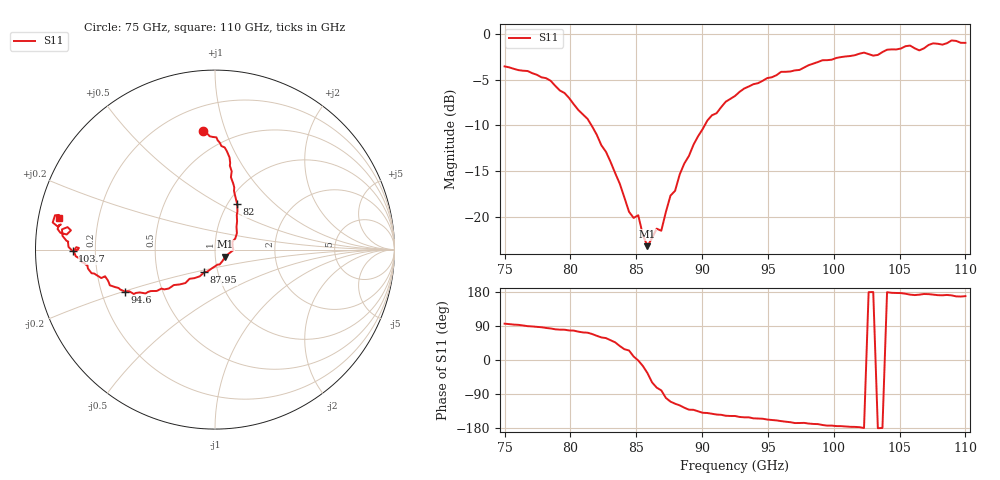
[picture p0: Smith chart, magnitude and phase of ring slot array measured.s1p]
!Created with mwavepy.
# GHz S RI R 50.0
!freq	ReS11	ImS11
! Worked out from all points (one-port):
!   101 points, 75 GHz to 110 GHz, reference 50 ohm
!   lowest |S11| = -23.1 dB at 85.85 GHz (marker M1), VSWR 1.15, Z = 55.9 - j4.45 ohm
!   |S11| at or under -10 dB: 81.61 GHz to 90.19 GHz (8.587 GHz wide, 10 % of centre)
!   S11 on the Smith chart (normalised r, x): 75 GHz: 0.36, +0.84; 82 GHz: 1.11, +0.61; 87.95 GHz: 0.86, -0.22; 94.6 GHz: 0.30, -0.20; 103.7 GHz: 0.12, -0.01; 110 GHz: 0.06, +0.10
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75  -0.0677 0.6592
! Port Impedance 50.00000000000000 0.00000000000000
78.15  0.0538 0.5692
79.55  0.0828 0.4676
82  0.124 0.2527
83.75  0.122 0.0914
84.45  0.0973 0.0455
85.15  0.1028 -0.00213
85.85  0.0575 -0.0396
86.55  0.0256 -0.0831
86.9  0.0144 -0.0835
87.6  -0.0446 -0.1237
87.95  -0.0599 -0.1262
88.3  -0.0849 -0.1489
90.4  -0.2572 -0.2167
92.5  -0.387 -0.2442
94.6  -0.5016 -0.2336
97.05  -0.6127 -0.1486
97.75  -0.6336 -0.1585
99.15  -0.7079 -0.1054
101.25  -0.7529 -0.0483
102.65  -0.7727 0.0133
103.7  -0.7929 -0.00869
105.8  -0.8526 0.1127
106.5  -0.8027 0.1073
107.55  -0.8768 0.1148
108.6  -0.8764 0.1286
109.3  -0.8913 0.191
110  -0.8718 0.1774
